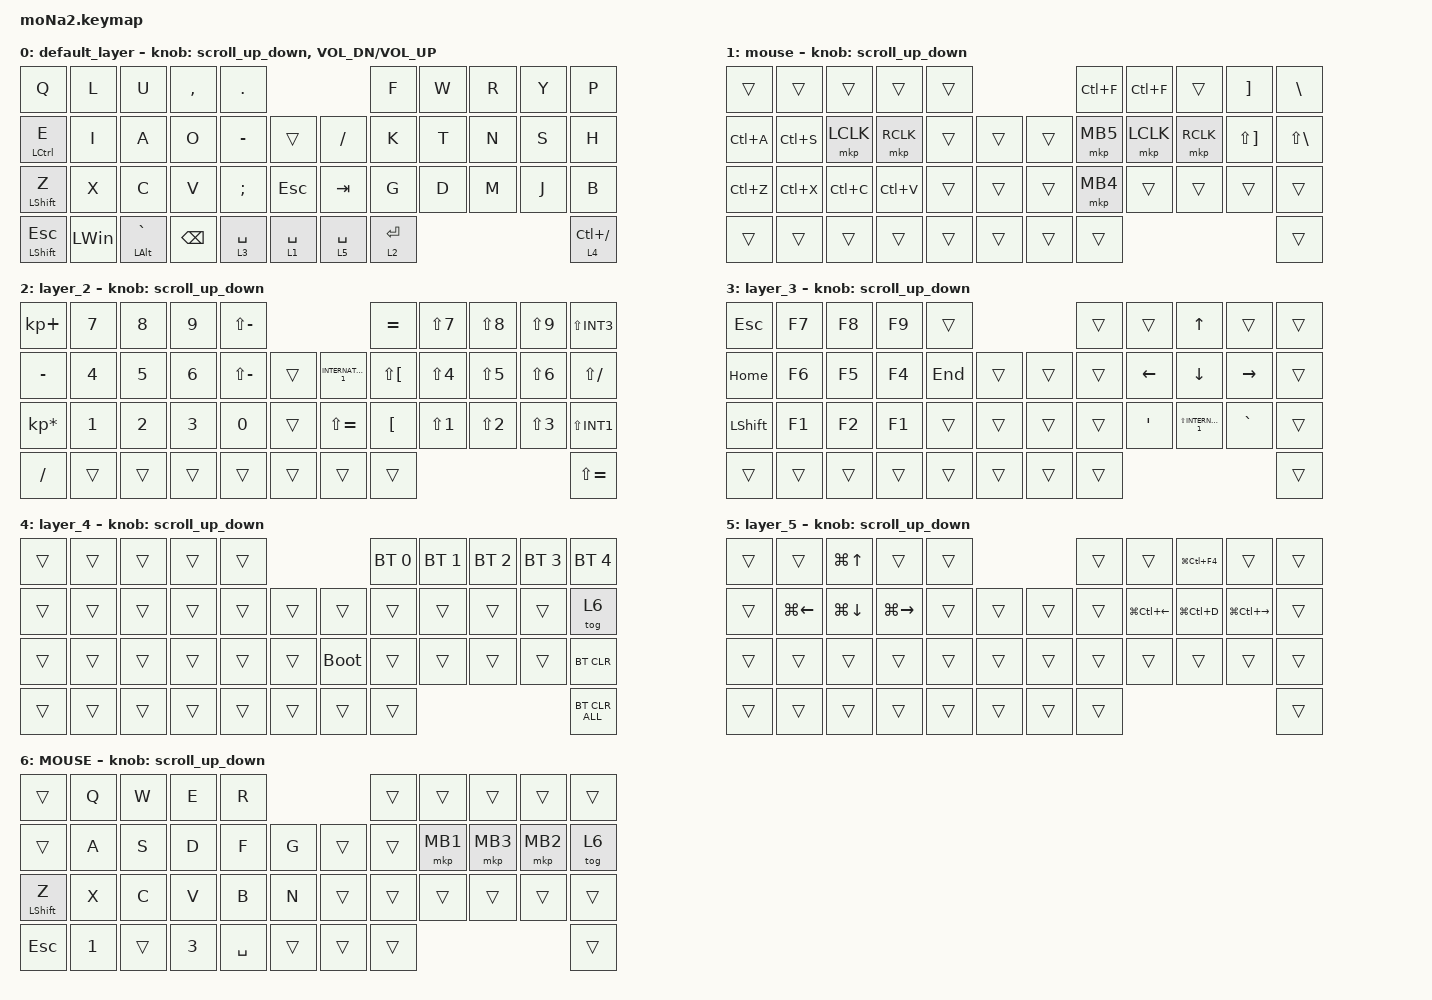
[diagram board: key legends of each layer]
#include <behaviors.dtsi>
#include <dt-bindings/zmk/bt.h>
#include <dt-bindings/zmk/keys.h>
#include <dt-bindings/zmk/pointing.h>

#define ZMK_POINTING_DEFAULT_SCRL_VAL 100
#define MOUSE 6

// OS設定を日本語キーボードのまま使用するための変換定義

#define JP_DQUOTE       AT                // "
#define JP_AMPERSAND    CARET             // &
#define JP_QUOTE        AMPERSAND         // '
#define JP_EQUAL        UNDER             // =
#define JP_CARET        EQUAL             // ^
#define JP_YEN          0x89              // ¥
#define JP_PLUS         COLON             // +
#define JP_TILDE        PLUS              // ~
#define JP_PIPE         LS(0x89)          // |
#define JP_AT           LEFT_BRACKET      // @
#define JP_COLON        SINGLE_QUOTE      // :
#define JP_ASTERISK     DOUBLE_QUOTES     // *
#define JP_BACKQUOTE    LEFT_BRACE        // `
#define JP_UNDERSCORE   LS(0x87)          // _
#define JP_LBRACKET     RIGHT_BRACKET     // [
#define JP_RBRACKET     BACKSLASH         // ]
#define JP_LPAREN       ASTERISK          // (
#define JP_RPAREN       LEFT_PARENTHESIS  // )
#define JP_LBRACE       RIGHT_BRACE       // {
#define JP_RBRACE       PIPE              // }
#define JP_KANA         LANGUAGE_1        // かな
#define JP_EISU         LANGUAGE_2        // 英数
#define JP_HANZEN       GRAVE             // 半角/全角

&mt {
    flavor = "balanced";
    quick-tap-ms = <0>;
};

/ {
    combos { compatible = "zmk,combos"; };

    macros {
        to_layer_0: to_layer_0 {
            compatible = "zmk,behavior-macro-one-param";
            #binding-cells = <1>;
            bindings = <&to 0 &macro_param_1to1 &kp MACRO_PLACEHOLDER>;
            label = "TO_LAYER_0";
        };

        parentheses: bracket {
            compatible = "zmk,behavior-macro";
            #binding-cells = <0>;
            bindings = <&kp LS(N8) &kp LS(N9)>;
            label = "BRACKET";
        };

        brackets: brackets {
            compatible = "zmk,behavior-macro";
            #binding-cells = <0>;
            bindings = <&kp LEFT_BRACKET &kp RIGHT_BRACKET>;
            label = "BRACKETS";
        };

        curl_brackets: curl_brackets {
            compatible = "zmk,behavior-macro";
            #binding-cells = <0>;
            bindings = <&kp LS(LEFT_BRACKET) &kp LS(RIGHT_BRACKET)>;
            label = "CURL_BRACKETS";
        };
    };

    behaviors {
        lt_to_layer_0: lt_to_layer_0 {
            compatible = "zmk,behavior-hold-tap";
            label = "LAYER_TAP_TO_0";
            bindings = <&mo>, <&to_layer_0>;

            #binding-cells = <2>;
            tapping-term-ms = <200>;
        };

        scroll_up_down: behavior_sensor_rotate_mouse_wheel_up_down {
            compatible = "zmk,behavior-sensor-rotate";
            #sensor-binding-cells = <0>;
            bindings = <&msc SCRL_UP>, <&msc SCRL_DOWN>;

            tap-ms = <20>;
        };
    };

    keymap {
        compatible = "zmk,keymap";

        default_layer {
            bindings = <
&kp Q                  &kp L         &kp U               &kp COMMA      &kp PERIOD                                 &kp F        &kp W  &kp R  &kp Y  &kp P
&mt LCTRL E            &kp I         &kp A               &kp O          &kp MINUS      &trans         &kp SLASH    &kp K        &kp T  &kp N  &kp S  &kp H
&mt LEFT_SHIFT Z       &kp X         &kp C               &kp V          &kp SEMICOLON  &kp ESC        &kp TAB      &kp G        &kp D  &kp M  &kp J  &kp B
&mt LEFT_SHIFT ESCAPE  &kp LEFT_WIN  &mt LEFT_ALT GRAVE  &kp BACKSPACE  &lt 3 SPACE    &lt 1 SPACE    &lt 5 SPACE  &lt 2 ENTER                       &lt 4 LC(SLASH)
            >;

            sensor-bindings =
                <&scroll_up_down>,
                <&inc_dec_kp C_VOL_DN C_VOL_UP>;
        };

        mouse {
            bindings = <
&trans     &trans     &trans     &trans     &trans                    &kp LC(F)  &kp LC(F)  &trans     &kp RIGHT_BRACKET      &kp BACKSLASH
&kp LC(A)  &kp LC(S)  &mkp LCLK  &mkp RCLK  &trans  &trans    &trans  &mkp MB5   &mkp LCLK  &mkp RCLK  &kp LS(RIGHT_BRACKET)  &kp LS(BACKSLASH)
&kp LC(Z)  &kp LC(X)  &kp LC(C)  &kp LC(V)  &trans  &trans    &trans  &mkp MB4   &trans     &trans     &trans                 &trans
&trans     &trans     &trans     &trans     &trans  &trans    &trans  &trans                                                  &trans
            >;

            sensor-bindings = <&scroll_up_down>;
        };

        layer_2 {
            bindings = <
&kp KP_PLUS      &kp NUMBER_7  &kp NUMBER_8  &kp NUMBER_9  &kp LS(MINUS)                                 &kp EQUAL             &kp LS(N7)        &kp LS(N8)        &kp LS(N9)        &kp LS(INT3)
&kp MINUS        &kp NUMBER_4  &kp NUMBER_5  &kp NUMBER_6  &kp LS(MINUS)  &trans    &kp INTERNATIONAL_1  &kp LS(LEFT_BRACKET)  &kp LS(NUMBER_4)  &kp LS(N5)        &kp LS(NUMBER_6)  &kp LS(SLASH)
&kp KP_ASTERISK  &kp NUMBER_1  &kp NUMBER_2  &kp NUMBER_3  &kp NUMBER_0   &trans    &kp LS(EQUAL)        &kp LEFT_BRACKET      &kp LS(NUMBER_1)  &kp LS(NUMBER_2)  &kp LS(NUMBER_3)  &kp LS(INT1)
&kp SLASH        &trans        &trans        &trans        &trans         &trans    &trans               &trans                                                                      &kp LS(EQUAL)
            >;

            sensor-bindings = <&scroll_up_down>;
        };

        layer_3 {
            bindings = <
&kp ESCAPE      &kp F7  &kp F8  &kp F9  &trans                     &trans  &trans            &kp UP_ARROW             &trans           &trans
&kp HOME        &kp F6  &kp F5  &kp F4  &kp END  &trans    &trans  &trans  &kp LEFT_ARROW    &kp DOWN_ARROW           &kp RIGHT_ARROW  &trans
&kp LEFT_SHIFT  &kp F1  &kp F2  &kp F1  &trans   &trans    &trans  &trans  &kp SINGLE_QUOTE  &kp LS(INTERNATIONAL_1)  &kp GRAVE        &trans
&trans          &trans  &trans  &trans  &trans   &trans    &trans  &trans                                                              &trans
            >;

            sensor-bindings = <&scroll_up_down>;
        };

        layer_4 {
            bindings = <
&trans  &trans  &trans  &trans  &trans                         &bt BT_SEL 0  &bt BT_SEL 1  &bt BT_SEL 2  &bt BT_SEL 3  &bt BT_SEL 4
&trans  &trans  &trans  &trans  &trans  &trans    &trans       &trans        &trans        &trans        &trans        &tog 6
&trans  &trans  &trans  &trans  &trans  &trans    &bootloader  &trans        &trans        &trans        &trans        &bt BT_CLR
&trans  &trans  &trans  &trans  &trans  &trans    &trans       &trans                                                  &bt BT_CLR_ALL
            >;

            sensor-bindings = <&scroll_up_down>;
        };

        layer_5 {
            bindings = <
&trans  &trans        &kp LG(UP_ARROW)    &trans         &trans                    &trans  &trans            &kp LG(LC(F4))  &trans             &trans
&trans  &kp LG(LEFT)  &kp LG(DOWN_ARROW)  &kp LG(RIGHT)  &trans  &trans    &trans  &trans  &kp LG(LC(LEFT))  &kp LG(LC(D))   &kp LG(LC(RIGHT))  &trans
&trans  &trans        &trans              &trans         &trans  &trans    &trans  &trans  &trans            &trans          &trans             &trans
&trans  &trans        &trans              &trans         &trans  &trans    &trans  &trans                                                       &trans
            >;

            sensor-bindings = <&scroll_up_down>;
        };

        MOUSE {
            bindings = <
&trans            &kp Q         &kp W   &kp E         &kp R                        &trans  &trans    &trans    &trans    &trans
&trans            &kp A         &kp S   &kp D         &kp F      &kp G     &trans  &trans  &mkp MB1  &mkp MB3  &mkp MB2  &tog 6
&mt LEFT_SHIFT Z  &kp X         &kp C   &kp V         &kp B      &kp N     &trans  &trans  &trans    &trans    &trans    &trans
&kp ESC           &kp NUMBER_1  &trans  &kp NUMBER_3  &kp SPACE  &trans    &trans  &trans                                &trans
            >;

            sensor-bindings = <&scroll_up_down>;
        };
    };
};
